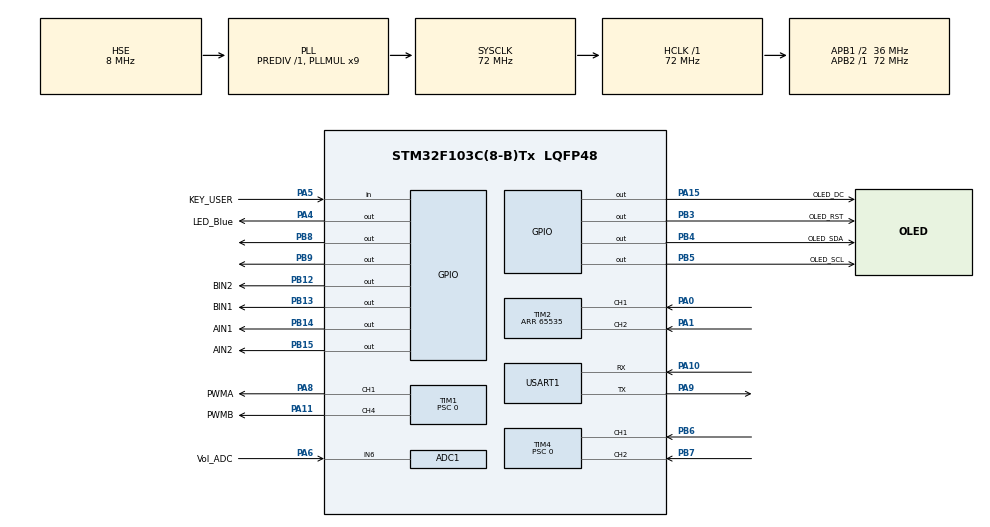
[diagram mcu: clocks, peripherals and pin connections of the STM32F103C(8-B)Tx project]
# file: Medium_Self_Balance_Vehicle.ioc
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ADC1.Channel-0\#ChannelRegularConversion=ADC_CHANNEL_6
ADC1.ContinuousConvMode=DISABLE
ADC1.DataAlign=ADC_DATAALIGN_RIGHT
ADC1.DiscontinuousConvMode=DISABLE
ADC1.EnableAnalogWatchDog=false
ADC1.EnableRegularConversion=ENABLE
ADC1.ExternalTrigConv=ADC_SOFTWARE_START
ADC1.InjNumberOfConversion=0
ADC1.NbrOfConversion=1
ADC1.NbrOfConversionFlag=1
ADC1.Rank-0\#ChannelRegularConversion=1
ADC1.SamplingTime-0\#ChannelRegularConversion=ADC_SAMPLETIME_239CYCLES_5
ADC1.ScanConvMode=ADC_SCAN_DISABLE
ADC1.master=1
Mcu.Family=STM32F1
Mcu.Name=STM32F103C(8-B)Tx
Mcu.Package=LQFP48
NVIC.PriorityGroup=NVIC_PRIORITYGROUP_2
NVIC.TIM2_IRQn=true\:0\:1\:true\:false\:true\:true\:true
NVIC.TIM3_IRQn=true\:2\:0\:true\:true\:true\:1\:true\:true
NVIC.TIM4_IRQn=true\:0\:0\:true\:false\:true\:true\:true
NVIC.USART1_IRQn=true\:1\:0\:true\:true\:true\:2\:true\:true
PA0-WKUP.Signal=S_TIM2_CH1_ETR
PA1.Signal=S_TIM2_CH2
PA10.Mode=Asynchronous
PA10.Signal=USART1_RX
PA11.GPIO_Label=PWMB
PA11.GPIO_Speed=GPIO_SPEED_FREQ_HIGH
PA11.Signal=S_TIM1_CH4
PA13.Mode=Serial_Wire
PA13.Signal=SYS_JTMS-SWDIO
PA14.Mode=Serial_Wire
PA14.Signal=SYS_JTCK-SWCLK
PA15.GPIO_Label=OLED_DC
PA15.GPIO_ModeDefaultOutputPP=GPIO_MODE_OUTPUT_PP
PA15.GPIO_PuPd=GPIO_NOPULL
PA15.GPIO_Speed=GPIO_SPEED_FREQ_LOW
PA15.PinState=GPIO_PIN_RESET
PA15.Signal=GPIO_Output
PA4.GPIO_Label=LED_Blue
PA4.GPIO_ModeDefaultOutputPP=GPIO_MODE_OUTPUT_PP
PA4.GPIO_PuPd=GPIO_NOPULL
PA4.GPIO_Speed=GPIO_SPEED_FREQ_LOW
PA4.PinState=GPIO_PIN_RESET
PA4.Signal=GPIO_Output
PA5.GPIO_Label=KEY_USER
PA5.Signal=GPIO_Input
PA6.GPIO_Label=Vol_ADC
PA6.Signal=ADCx_IN6
PA8.GPIO_Label=PWMA
PA8.GPIO_Speed=GPIO_SPEED_FREQ_HIGH
PA8.Signal=S_TIM1_CH1
PA9.Mode=Asynchronous
PA9.Signal=USART1_TX
PB12.GPIO_Label=BIN2
PB12.GPIO_ModeDefaultOutputPP=GPIO_MODE_OUTPUT_PP
PB12.GPIO_PuPd=GPIO_NOPULL
PB12.GPIO_Speed=GPIO_SPEED_FREQ_LOW
PB12.PinState=GPIO_PIN_RESET
PB12.Signal=GPIO_Output
PB13.GPIO_Label=BIN1
PB13.GPIO_ModeDefaultOutputPP=GPIO_MODE_OUTPUT_PP
PB13.GPIO_PuPd=GPIO_NOPULL
PB13.GPIO_Speed=GPIO_SPEED_FREQ_LOW
PB13.PinState=GPIO_PIN_RESET
PB13.Signal=GPIO_Output
PB14.GPIO_Label=AIN1
PB14.GPIO_ModeDefaultOutputPP=GPIO_MODE_OUTPUT_PP
PB14.GPIO_PuPd=GPIO_NOPULL
PB14.GPIO_Speed=GPIO_SPEED_FREQ_LOW
PB14.PinState=GPIO_PIN_RESET
PB14.Signal=GPIO_Output
PB15.GPIO_Label=AIN2
PB15.GPIO_ModeDefaultOutputPP=GPIO_MODE_OUTPUT_PP
PB15.GPIO_PuPd=GPIO_NOPULL
PB15.GPIO_Speed=GPIO_SPEED_FREQ_LOW
PB15.PinState=GPIO_PIN_RESET
PB15.Signal=GPIO_Output
PB3.GPIO_Label=OLED_RST
PB3.GPIO_ModeDefaultOutputPP=GPIO_MODE_OUTPUT_PP
PB3.GPIO_PuPd=GPIO_NOPULL
PB3.GPIO_Speed=GPIO_SPEED_FREQ_LOW
PB3.PinState=GPIO_PIN_RESET
PB3.Signal=GPIO_Output
PB4.GPIO_Label=OLED_SDA
PB4.GPIO_ModeDefaultOutputPP=GPIO_MODE_OUTPUT_PP
PB4.GPIO_PuPd=GPIO_NOPULL
PB4.GPIO_Speed=GPIO_SPEED_FREQ_LOW
PB4.PinState=GPIO_PIN_RESET
PB4.Signal=GPIO_Output
PB5.GPIO_Label=OLED_SCL
PB5.GPIO_ModeDefaultOutputPP=GPIO_MODE_OUTPUT_PP
PB5.GPIO_PuPd=GPIO_NOPULL
PB5.GPIO_Speed=GPIO_SPEED_FREQ_LOW
PB5.PinState=GPIO_PIN_RESET
PB5.Signal=GPIO_Output
PB6.GPIO_Mode=GPIO_MODE_INPUT
PB6.GPIO_PuPd=GPIO_NOPULL
PB6.Signal=S_TIM4_CH1
PB7.GPIO_Mode=GPIO_MODE_INPUT
PB7.GPIO_PuPd=GPIO_NOPULL
PB7.Signal=S_TIM4_CH2
PB8.GPIO_ModeDefaultOutputPP=GPIO_MODE_OUTPUT_OD
PB8.GPIO_Speed=GPIO_SPEED_FREQ_MEDIUM
PB8.Signal=GPIO_Output
PB9.GPIO_ModeDefaultOutputPP=GPIO_MODE_OUTPUT_OD
PB9.GPIO_Speed=GPIO_SPEED_FREQ_MEDIUM
PB9.PinState=GPIO_PIN_RESET
PB9.Signal=GPIO_Output
PD0-OSC_IN.Mode=HSE-External-Oscillator
PD0-OSC_IN.Signal=RCC_OSC_IN
PD1-OSC_OUT.Mode=HSE-External-Oscillator
PD1-OSC_OUT.Signal=RCC_OSC_OUT
ProjectManager.HeapSize=0x200
ProjectManager.StackSize=0x400
ProjectManager.TargetToolchain=MDK-ARM V5
RCC.ADCPresc=RCC_ADCPCLK2_DIV6
RCC.AHBFreq_Value=72000000
RCC.APB1CLKDivider=RCC_HCLK_DIV2
RCC.APB1Freq_Value=36000000
RCC.APB1TimFreq_Value=72000000
RCC.APB2Freq_Value=72000000
RCC.APB2TimFreq_Value=72000000
RCC.HCLKFreq_Value=72000000
RCC.PLLMUL=RCC_PLL_MUL9
RCC.PLLSourceVirtual=RCC_PLLSOURCE_HSE
RCC.SYSCLKFreq_VALUE=72000000
RCC.SYSCLKSource=RCC_SYSCLKSOURCE_PLLCLK
RCC.USBFreq_Value=72000000
SH.ADCx_IN6.0=ADC1_IN6,IN6
SH.S_TIM1_CH1.0=TIM1_CH1,PWM Generation1 CH1
SH.S_TIM1_CH4.0=TIM1_CH4,PWM Generation4 CH4
SH.S_TIM2_CH1_ETR.0=TIM2_CH1,Encoder_Interface
SH.S_TIM2_CH2.0=TIM2_CH2,Encoder_Interface
SH.S_TIM4_CH1.0=TIM4_CH1,Encoder_Interface
SH.S_TIM4_CH2.0=TIM4_CH2,Encoder_Interface
TIM1.Channel-PWM\ Generation1\ CH1=TIM_CHANNEL_1
TIM1.Channel-PWM\ Generation4\ CH4=TIM_CHANNEL_4
TIM1.Period=7199
TIM1.Prescaler=0
TIM2.EncoderMode=TIM_ENCODERMODE_TI12
TIM2.Period=65535
TIM3.Period=99
TIM3.Prescaler=7199
TIM4.EncoderMode=TIM_ENCODERMODE_TI12
TIM4.IC1Filter=3
TIM4.IC2Filter=3
TIM4.Period=65535
TIM4.Prescaler=0
USART1.VirtualMode=VM_ASYNC
VP_TIM3_VS_ClockSourceINT.Mode=Internal
board=custom

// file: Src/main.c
/**
  ******************************************************************************
  * @file           : main.c
  * @brief          : Main program body
  ******************************************************************************
  ** This notice applies to any and all portions of this file
  * that are not between comment pairs USER CODE BEGIN and
  * USER CODE END. Other portions of this file, whether
  * inserted by the user or by software development tools
  * are owned by their respective copyright owners.
  *
  * COPYRIGHT(c) 2019 STMicroelectronics
  *
  * Redistribution and use in source and binary forms, with or without modification,
  * are permitted provided that the following conditions are met:
  *   1. Redistributions of source code must retain the above copyright notice,
  *      this list of conditions and the following disclaimer.
  *   2. Redistributions in binary form must reproduce the above copyright notice,
  *      this list of conditions and the following disclaimer in the documentation
  *      and/or other materials provided with the distribution.
  *   3. Neither the name of STMicroelectronics nor the names of its contributors
  *      may be used to endorse or promote products derived from this software
  *      without specific prior written permission.
  *
  * THIS SOFTWARE IS PROVIDED BY THE COPYRIGHT HOLDERS AND CONTRIBUTORS "AS IS"
  * AND ANY EXPRESS OR IMPLIED WARRANTIES, INCLUDING, BUT NOT LIMITED TO, THE
  * IMPLIED WARRANTIES OF MERCHANTABILITY AND FITNESS FOR A PARTICULAR PURPOSE ARE
  * DISCLAIMED. IN NO EVENT SHALL THE COPYRIGHT HOLDER OR CONTRIBUTORS BE LIABLE
  * FOR ANY DIRECT, INDIRECT, INCIDENTAL, SPECIAL, EXEMPLARY, OR CONSEQUENTIAL
  * DAMAGES (INCLUDING, BUT NOT LIMITED TO, PROCUREMENT OF SUBSTITUTE GOODS OR
  * SERVICES; LOSS OF USE, DATA, OR PROFITS; OR BUSINESS INTERRUPTION) HOWEVER
  * CAUSED AND ON ANY THEORY OF LIABILITY, WHETHER IN CONTRACT, STRICT LIABILITY,
  * OR TORT (INCLUDING NEGLIGENCE OR OTHERWISE) ARISING IN ANY WAY OUT OF THE USE
  * OF THIS SOFTWARE, EVEN IF ADVISED OF THE POSSIBILITY OF SUCH DAMAGE.
  *
  ******************************************************************************
  */
#include "main.h"
#include "stm32f1xx_hal.h"
#include "adc.h"
#include "tim.h"
#include "usart.h"
#include "gpio.h"

/* USER CODE BEGIN PV */
/* Private variables ---------------------------------------------------------*/

/* USER CODE END PV */

void SystemClock_Config(void);
static void MX_NVIC_Init(void);

/* USER CODE BEGIN PFP */
/* Private function prototypes -----------------------------------------------*/

/* USER CODE END PFP */

/* USER CODE BEGIN 0 */
#include <stdio.h>
#include "Medium_Self_Balance_Vehicle.h" /* Model's header file */
#include "rtwtypes.h"                  /* MathWorks types */

/* Real-time model */
extern RT_MODEL_Medium_Self_Balance_Vehicle *const Medium_Self_Balance_Vehicle_M;

/* Set which subrates need to run this base step (base rate always runs).*/
/* Defined in Medium_Self_Balance_Vehicle.c file */
extern void Medium_Self_Balance_Vehicle_SetEventsForThisBaseStep(boolean_T*);

/* Flags for taskOverrun */
static boolean_T OverrunFlags[1];

/* Number of auto reload timer rotation computed */
static volatile uint32_t autoReloadTimerLoopVal_S = 1;

/* Remaining number of auto reload timer rotation to do */
static volatile uint32_t remainAutoReloadTimerLoopVal_S = 1;

/* USER CODE END 0 */

int main(void)
{
  /* USER CODE BEGIN 1 */
  /* Data initialization */
  int_T i;

  /* USER CODE END 1 */

  /* MCU Configuration----------------------------------------------------------*/

  /* Reset of all peripherals, Initializes the Flash interface and the Systick. */
  HAL_Init();

  /* Configure the system clock */
  SystemClock_Config();

  /* Initialize all configured peripherals */
  MX_GPIO_Init();
  MX_ADC1_Init();
  MX_TIM4_Init();
  MX_TIM1_Init();
  MX_USART1_UART_Init();
  MX_TIM2_Init();
  MX_TIM3_Init();

  /* Initialize interrupts */
  MX_NVIC_Init();
  /* USER CODE BEGIN 2 */
  /* Systick configuration and enable SysTickHandler interrupt */
  if (SysTick_Config((uint32_t)(SystemCoreClock * 0.005))) {
    autoReloadTimerLoopVal_S = 1;
    do {
      autoReloadTimerLoopVal_S++;
    } while ((uint32_t)(SystemCoreClock * 0.005)/autoReloadTimerLoopVal_S >
             SysTick_LOAD_RELOAD_Msk);

    SysTick_Config((uint32_t)(SystemCoreClock * 0.005)/autoReloadTimerLoopVal_S);
  }

  remainAutoReloadTimerLoopVal_S = autoReloadTimerLoopVal_S;//Set nb of loop to do

  /* USER CODE END 2 */

  /* Infinite loop */
  /* USER CODE BEGIN WHILE */
  for (i=0;i<1;i++) {
    OverrunFlags[i] = 0;
  }

  /* Model initialization call */
  Medium_Self_Balance_Vehicle_initialize();

  /* Infinite loop */
  /* Real time from systickHandler */
  while (1) {
    /*Process tasks every solver time*/
    if (remainAutoReloadTimerLoopVal_S == 0) {
      remainAutoReloadTimerLoopVal_S = autoReloadTimerLoopVal_S;

      /* Check base rate for overrun */
      if (OverrunFlags[0]) {
        rtmSetErrorStatus(Medium_Self_Balance_Vehicle_M, "Overrun");
      }

      OverrunFlags[0] = true;

      /* Step the model for base rate */
      Medium_Self_Balance_Vehicle_step();

      /* Get model outputs here */

      /* Indicate task for base rate complete */
      OverrunFlags[0] = false;
    }
  }

  /* USER CODE END WHILE */

}

void SystemClock_Config(void)
{

  RCC_OscInitTypeDef RCC_OscInitStruct;
  RCC_ClkInitTypeDef RCC_ClkInitStruct;
  RCC_PeriphCLKInitTypeDef PeriphClkInit;

    /**Initializes the CPU, AHB and APB busses clocks
    */
  RCC_OscInitStruct.OscillatorType = RCC_OSCILLATORTYPE_HSE;
  RCC_OscInitStruct.HSEState = RCC_HSE_ON;
  RCC_OscInitStruct.HSEPredivValue = RCC_HSE_PREDIV_DIV1;
  RCC_OscInitStruct.HSIState = RCC_HSI_ON;
  RCC_OscInitStruct.PLL.PLLState = RCC_PLL_ON;
  RCC_OscInitStruct.PLL.PLLSource = RCC_PLLSOURCE_HSE;
  RCC_OscInitStruct.PLL.PLLMUL = RCC_PLL_MUL9;
  if (HAL_RCC_OscConfig(&RCC_OscInitStruct) != HAL_OK)
  {
    _Error_Handler(__FILE__, __LINE__);
  }

    /**Initializes the CPU, AHB and APB busses clocks
    */
  RCC_ClkInitStruct.ClockType = RCC_CLOCKTYPE_HCLK|RCC_CLOCKTYPE_SYSCLK
                              |RCC_CLOCKTYPE_PCLK1|RCC_CLOCKTYPE_PCLK2;
  RCC_ClkInitStruct.SYSCLKSource = RCC_SYSCLKSOURCE_PLLCLK;
  RCC_ClkInitStruct.AHBCLKDivider = RCC_SYSCLK_DIV1;
  RCC_ClkInitStruct.APB1CLKDivider = RCC_HCLK_DIV2;
  RCC_ClkInitStruct.APB2CLKDivider = RCC_HCLK_DIV1;

  if (HAL_RCC_ClockConfig(&RCC_ClkInitStruct, FLASH_LATENCY_2) != HAL_OK)
  {
    _Error_Handler(__FILE__, __LINE__);
  }

  PeriphClkInit.PeriphClockSelection = RCC_PERIPHCLK_ADC;
  PeriphClkInit.AdcClockSelection = RCC_ADCPCLK2_DIV6;
  if (HAL_RCCEx_PeriphCLKConfig(&PeriphClkInit) != HAL_OK)
  {
    _Error_Handler(__FILE__, __LINE__);
  }

    /**Configure the Systick interrupt time
    */
  HAL_SYSTICK_Config(HAL_RCC_GetHCLKFreq()/1000);

    /**Configure the Systick
    */
  HAL_SYSTICK_CLKSourceConfig(SYSTICK_CLKSOURCE_HCLK);

  /* SysTick_IRQn interrupt configuration */
  HAL_NVIC_SetPriority(SysTick_IRQn, 0, 0);
}

/**
  * @brief NVIC Configuration.
  * @retval None
  */
static void MX_NVIC_Init(void)
{
  /* TIM3_IRQn interrupt configuration */
  HAL_NVIC_SetPriority(TIM3_IRQn, 2, 0);
  HAL_NVIC_EnableIRQ(TIM3_IRQn);
  /* USART1_IRQn interrupt configuration */
  HAL_NVIC_SetPriority(USART1_IRQn, 1, 0);
  HAL_NVIC_EnableIRQ(USART1_IRQn);
}

/* USER CODE BEGIN 4 */
/****************************************************
   SysTick_Handler callback function
   This handler is called every tick and schedules tasks
 *****************************************************/
void HAL_SYSTICK_Callback(void)
{
  /* For TIME OUT processing */
  HAL_IncTick();

  /* Manage nb of loop before interrupt has to be processed */
  if (remainAutoReloadTimerLoopVal_S) {
    remainAutoReloadTimerLoopVal_S--;
  }
}

/* USER CODE END 4 */

void _Error_Handler(char *file, int line)
{
  while(1)
  {
  }
}

/************************ (C) COPYRIGHT STMicroelectronics *****END OF FILE****/
